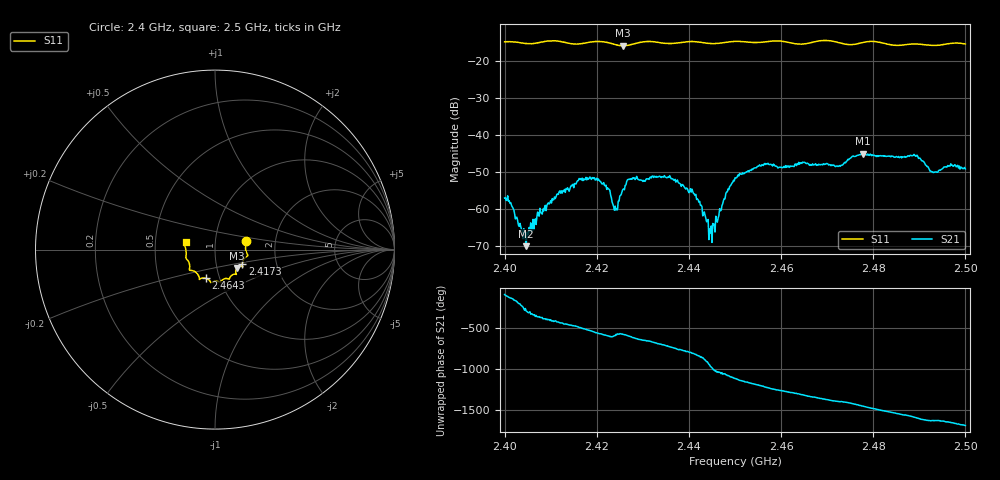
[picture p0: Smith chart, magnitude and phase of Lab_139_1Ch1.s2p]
# Hz S RI R 50
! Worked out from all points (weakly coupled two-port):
!   601 points, 2.4 GHz to 2.5 GHz, reference 50 ohm
!   highest |S21| = -45.12 dB at 2.4778 GHz (marker M1); lowest = -70.1 dB at 2.4047 GHz (marker M2)
!   lowest |S11| = -15.9 dB at 2.4257 GHz (marker M3), VSWR 1.38, Z = 62.4 - j13.1 ohm
!   |S11| at or under -10 dB: start of sweep to end of sweep
!   S12 and S22 are empty: the file has one direction only
!   S11 on the Smith chart (normalised r, x): 2.4 GHz: 1.41, +0.15; 2.4173 GHz: 1.34, -0.23; 2.4643 GHz: 0.86, -0.28; 2.5 GHz: 0.72, +0.06
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2.4e9  0.1732 0.0498  7.27e-05 -0.0014  0 0  0 0
2.404667e9  0.1704 0.0174  8.9e-05 0.000301  0 0  0 0
2.411833e9  0.1803 -0.0356  0.000605 -0.00159  0 0  0 0
2.416667e9  0.1531 -0.0748  -0.00176 -0.00171  0 0  0 0
2.417333e9  0.1524 -0.0824  -0.00208 -0.00135  0 0  0 0
2.4215e9  0.1533 -0.0952  -0.00176 0.00142  0 0  0 0
2.424e9  0.1362 -0.0942  -0.000697 0.000835  0 0  0 0
2.425667e9  0.1226 -0.1024  -0.00152 0.00103  0 0  0 0
2.427333e9  0.1158 -0.1174  -0.00112 0.00225  0 0  0 0
2.433333e9  0.1128 -0.1367  0.00231 0.00142  0 0  0 0
2.440833e9  0.0784 -0.1648  9.84e-05 -0.00171  0 0  0 0
2.444833e9  0.0565 -0.1614  -0.000159 0.000566  0 0  0 0
2.45e9  0.0296 -0.1807  0.00213 -0.00152  0 0  0 0
2.456333e9  -0.00911 -0.1796  -0.00296 -0.00276  0 0  0 0
2.464333e9  -0.0501 -0.1603  -0.0026 0.00328  0 0  0 0
2.466667e9  -0.0761 -0.1598  -0.000748 0.00381  0 0  0 0
2.472833e9  -0.0903 -0.1485  0.00287 0.00244  0 0  0 0
2.477833e9  -0.1341 -0.1158  0.00536 -0.00139  0 0  0 0
2.483333e9  -0.1408 -0.0893  0.000627 -0.00514  0 0  0 0
2.489167e9  -0.1625 -0.0453  -0.00462 -0.00227  0 0  0 0
2.493167e9  -0.1607 -0.0118  -0.00304 0.000687  0 0  0 0
2.5e9  -0.1636 0.042  -0.00118 0.00325  0 0  0 0
